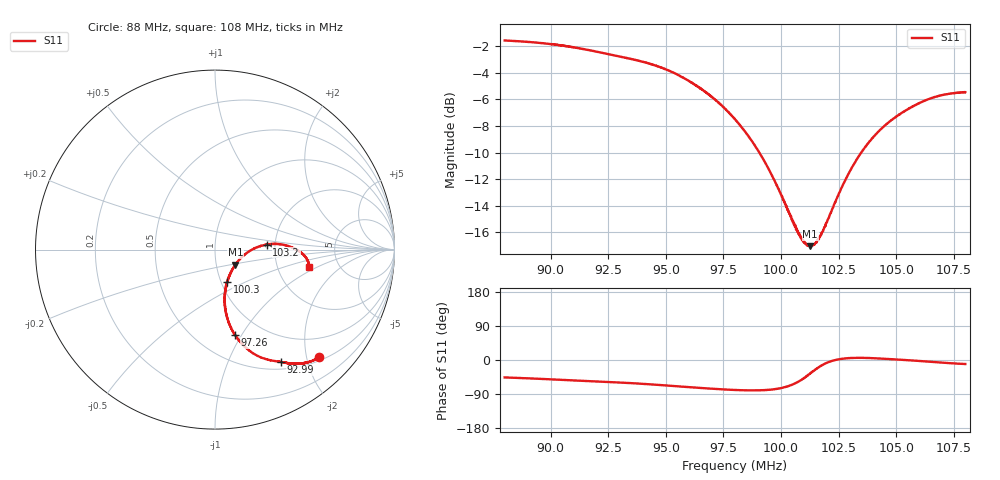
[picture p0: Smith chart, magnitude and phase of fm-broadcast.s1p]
! Calibrated averaged scanner-service zoom
# Hz S RI R 50
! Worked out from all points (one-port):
!   2001 points, 88 MHz to 108 MHz, reference 50 ohm
!   lowest |S11| = -17.0 dB at 101.3 MHz (marker M1), VSWR 1.33, Z = 61.8 - j10.5 ohm
!   |S11| at or under -10 dB: 99.06 MHz to 103.5 MHz (4.418 MHz wide, 4.36 % of centre)
!   S11 on the Smith chart (normalised r, x): 88 MHz: 0.56, -2.24; 92.99 MHz: 0.60, -1.58; 97.26 MHz: 0.75, -0.94; 100.3 MHz: 1.07, -0.40; 103.2 MHz: 1.81, +0.11; 108 MHz: 3.04, -0.83
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8.8e7  0.5808 -0.6007
8.917e7  0.5426 -0.6195
9.05e7  0.4871 -0.6345
9.299e7  0.3686 -0.6267
9.3e7  0.3692 -0.6265
9.442e7  0.2919 -0.6128
9.55e7  0.2187 -0.5815
9.64e7  0.1608 -0.5357
9.726e7  0.1129 -0.4761
9.8e7  0.0797 -0.4147
9.858e7  0.0626 -0.3602
9.914e7  0.0541 -0.3031
9.968e7  0.0557 -0.2457
1.0028e8  0.0678 -0.1817
1.005e8  0.0752 -0.1585
1.0093e8  0.095 -0.1141
1.0126e8  0.1136 -0.0831
1.015e8  0.1315 -0.0603
1.0174e8  0.1496 -0.0408
1.0236e8  0.2061 0.000329
1.03e8  0.2697 0.0245
1.032e8  0.289 0.0284
1.0367e8  0.3324 0.033
1.0421e8  0.3779 0.0283
1.0478e8  0.4189 0.0167
1.055e8  0.4608 -0.00403
1.067e8  0.5106 -0.0503
1.08e8  0.5249 -0.0982
